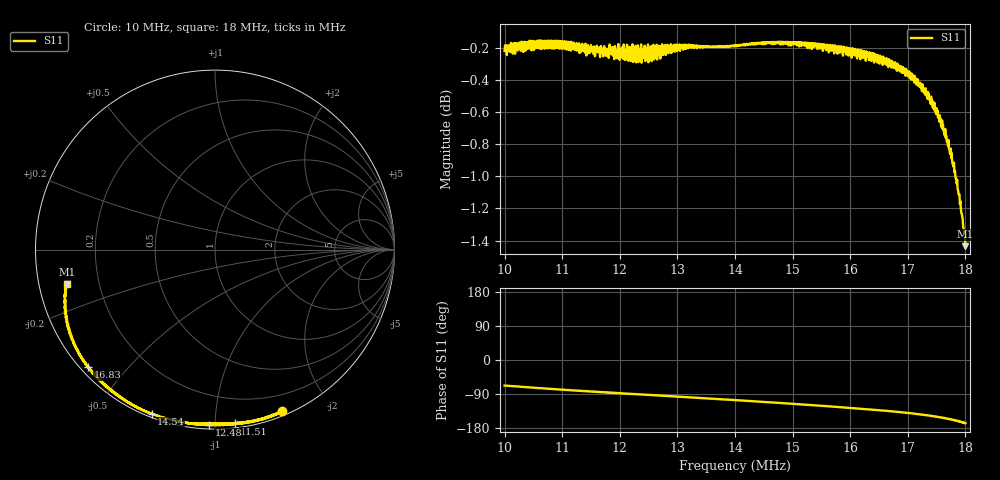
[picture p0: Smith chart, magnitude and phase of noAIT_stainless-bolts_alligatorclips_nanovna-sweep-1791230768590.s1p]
! NanoVNA Web complex sweep
! Processing: unaveraged complex samples; linear segment spacing; no smoothing
# Hz S RI R 50
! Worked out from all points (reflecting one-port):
!   1010 points, 10 MHz to 18 MHz, reference 50 ohm
!   lowest |S11| = -1.4 dB at 18 MHz (marker M1), VSWR 12.14, Z = 4.17 - j5.74 ohm
!   phase of S11 starts at -67 deg and turns -99 deg over the sweep
!   S11 on the Smith chart (normalised r, x): 10 MHz: 0.04, -1.50; 11.51 MHz: 0.03, -1.12; 12.48 MHz: 0.02, -0.97; 14.54 MHz: 0.01, -0.69; 16.83 MHz: 0.02, -0.39; 18 MHz: 0.08, -0.11
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1e7  0.375 -0.9
1.022994e7  0.3356 -0.9208
1.055503e7  0.2766 -0.9422
1.100698e7  0.1981 -0.9564
1.151444e7  0.1089 -0.9686
1.200604e7  0.041 -0.9751
1.248178e7  -0.0326 -0.976
1.300509e7  -0.1096 -0.9694
1.350462e7  -0.1896 -0.9595
1.400414e7  -0.2667 -0.942
1.454332e7  -0.353 -0.9141
1.50032e7  -0.4241 -0.8841
1.557409e7  -0.5126 -0.8333
1.600225e7  -0.5763 -0.7834
1.641456e7  -0.6369 -0.7274
1.66445e7  -0.6786 -0.6905
1.682687e7  -0.7051 -0.6557
1.700131e7  -0.7308 -0.6187
1.714403e7  -0.7527 -0.5843
1.730261e7  -0.7756 -0.5396
1.745326e7  -0.7973 -0.4892
1.756427e7  -0.8123 -0.4456
1.767527e7  -0.8239 -0.397
1.777042e7  -0.8312 -0.3475
1.784971e7  -0.8334 -0.3026
1.789728e7  -0.8403 -0.2607
1.796864e7  -0.8326 -0.2087
1.800036e7  -0.8254 -0.1936
